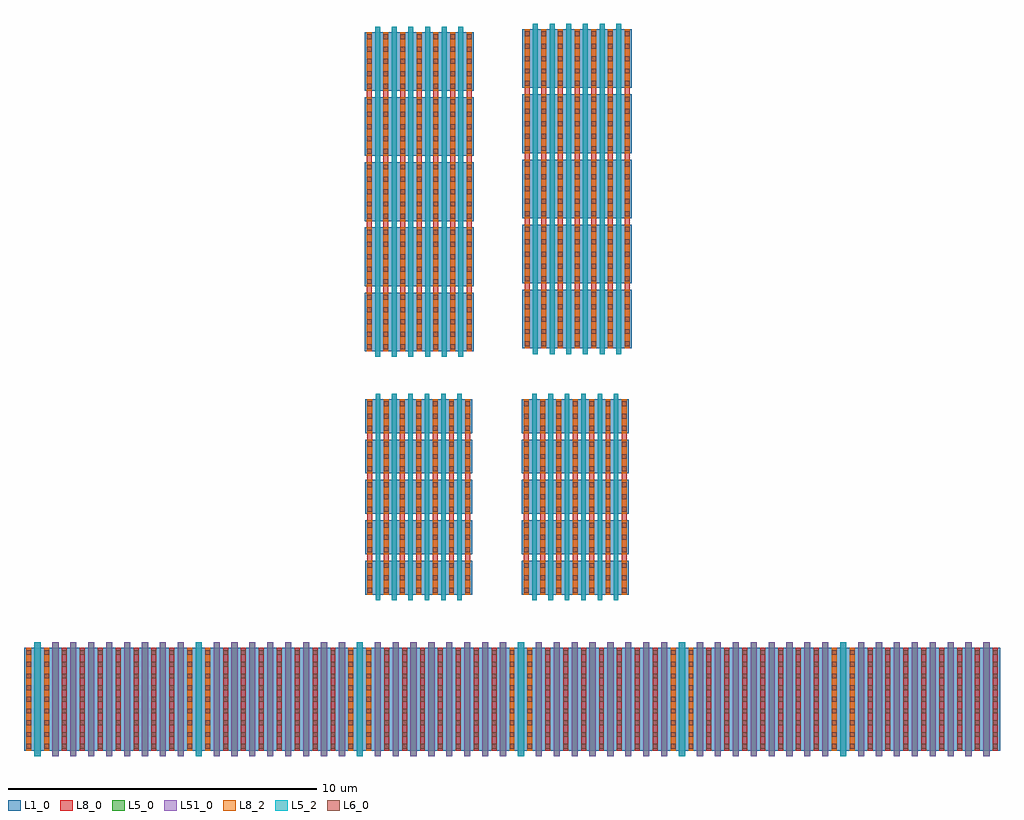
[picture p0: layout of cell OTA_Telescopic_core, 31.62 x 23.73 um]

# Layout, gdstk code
import gdstk
lib = gdstk.Library(unit=1e-6, precision=1e-09)
def R(c, l, rs):  # rectangles x0, y0, x1, y1
    for r in rs: c.add(gdstk.rectangle(r[:2], r[2:], *l))
def A(c, l, x, y, w, h, nx, ny, dx, dy):  # array of equal rectangles
    R(c, l, [(x+i*dx, y+j*dy, x+i*dx+w, y+j*dy+h) for i in range(nx) for j in range(ny)])
L1_0 = (1, 0)
L5_0 = (5, 0)
L5_2 = (5, 2)
L6_0 = (6, 0)
L8_0 = (8, 0)
L8_2 = (8, 2)
L51_0 = (51, 0)

nmos_5 = lib.new_cell('nmos$5')
A(nmos_5, L1_0, 0, 0, 0.3, 0.3, 10, 1, 0.58, 0)
R(nmos_5, L1_0, [(0,0,5.52,3.33)])
A(nmos_5, L5_0, 0.34, -0.18, 0.2, 3.69, 9, 1, 0.58, 0)
R(nmos_5, L5_2, [(0.34,-0.18,0.54,3.51)])
A(nmos_5, L6_0, 0.07, 0.07, 0.16, 0.16, 10, 2, 0.58, 0.375)
A(nmos_5, L6_0, 0.07, 0.825, 0.16, 0.16, 10, 3, 0.58, 0.38)
A(nmos_5, L6_0, 0.07, 1.96, 0.16, 0.16, 10, 4, 0.58, 0.38)
A(nmos_5, L8_0, 0.07, 0, 0.16, 3.33, 10, 1, 0.58, 0)
R(nmos_5, L8_2, [(0.07,0,0.23,3.33), (0.65,0,0.81,3.33)])
A(nmos_5, L51_0, 0.34, -0.18, 0.2, 3.69, 9, 1, 0.58, 0)
nmos_5.add(gdstk.Label('nmos', (0.44,1.665), layer=63, texttype=0))
nmos_5.add(gdstk.Label('nmos', (0.44,1.665), layer=51, texttype=0))
nmos_5.add(gdstk.Label('nmos', (1.02,1.665), layer=51, texttype=0))
nmos_5.add(gdstk.Label('nmos', (1.6,1.665), layer=51, texttype=0))
nmos_5.add(gdstk.Label('nmos', (2.18,1.665), layer=51, texttype=0))
nmos_5.add(gdstk.Label('nmos', (2.76,1.665), layer=51, texttype=0))
nmos_5.add(gdstk.Label('nmos', (3.34,1.665), layer=51, texttype=0))
nmos_5.add(gdstk.Label('nmos', (3.92,1.665), layer=51, texttype=0))
nmos_5.add(gdstk.Label('nmos', (4.5,1.665), layer=51, texttype=0))
nmos_5.add(gdstk.Label('nmos', (5.08,1.665), layer=51, texttype=0))

c_m0 = lib.new_cell('M0')
r = gdstk.Reference(nmos_5, (-0.44,-0.155)); r.repetition = gdstk.Repetition(6, 1, v1=(5.22,0), v2=(0,0)); c_m0.add(r)

nmos_1 = lib.new_cell('nmos$1')
R(nmos_1, L1_0, [(0,0,0.3,0.3), (0,0,0.83,1.1), (0.53,0,0.83,0.3)])
R(nmos_1, L5_0, [(0.34,-0.18,0.49,1.28)])
R(nmos_1, L5_2, [(0.34,-0.18,0.49,1.28)])
A(nmos_1, L6_0, 0.07, 0.07, 0.16, 0.16, 1, 3, 0, 0.4)
A(nmos_1, L6_0, 0.6, 0.07, 0.16, 0.16, 1, 3, 0, 0.4)
R(nmos_1, L8_0, [(0.07,0,0.23,1.1), (0.6,0,0.76,1.1)])
R(nmos_1, L8_2, [(0.07,0,0.23,1.1), (0.6,0,0.76,1.1)])
R(nmos_1, L51_0, [(0.34,-0.18,0.49,1.28)])
nmos_1.add(gdstk.Label('nmos', (0.415,0.55), layer=63, texttype=0))
nmos_1.add(gdstk.Label('nmos', (0.415,0.55), layer=51, texttype=0))

m1_conm1m2 = lib.new_cell('M1_conM1M2')
R(m1_conm1m2, L8_0, [(0,0,0.16,0.21)])

m1m2 = lib.new_cell('M1M2')
r = gdstk.Reference(nmos_1, (-0.425,-0.13)); r.repetition = gdstk.Repetition(6, 5, v1=(0.53,0), v2=(0,1.31)); m1m2.add(r)
r = gdstk.Reference(m1_conm1m2, (-0.355,0.97)); r.repetition = gdstk.Repetition(7, 4, v1=(0.53,0), v2=(0,1.31)); m1m2.add(r)

nmos_2 = lib.new_cell('nmos$2')
R(nmos_2, L1_0, [(0,0,0.3,0.3), (0,0,0.84,1.9), (0.54,0,0.84,0.3)])
R(nmos_2, L5_0, [(0.34,-0.18,0.5,2.08)])
R(nmos_2, L5_2, [(0.34,-0.18,0.5,2.08)])
A(nmos_2, L6_0, 0.07, 0.07, 0.16, 0.16, 1, 5, 0, 0.4)
A(nmos_2, L6_0, 0.61, 0.07, 0.16, 0.16, 1, 5, 0, 0.4)
R(nmos_2, L8_0, [(0.07,0,0.23,1.9), (0.61,0,0.77,1.9)])
R(nmos_2, L8_2, [(0.07,0,0.23,1.9), (0.61,0,0.77,1.9)])
R(nmos_2, L51_0, [(0.34,-0.18,0.5,2.08)])
nmos_2.add(gdstk.Label('nmos', (0.42,0.95), layer=63, texttype=0))
nmos_2.add(gdstk.Label('nmos', (0.42,0.95), layer=51, texttype=0))

m1_conm3m4 = lib.new_cell('M1_conM3M4')
R(m1_conm3m4, L8_0, [(0,0,0.16,0.21)])

m3m4 = lib.new_cell('M3M4')
r = gdstk.Reference(nmos_2, (-0.395,-0.12)); r.repetition = gdstk.Repetition(6, 5, v1=(0.54,0), v2=(0,2.11)); m3m4.add(r)
r = gdstk.Reference(m1_conm3m4, (-0.325,1.78)); r.repetition = gdstk.Repetition(7, 4, v1=(0.54,0), v2=(0,2.11)); m3m4.add(r)

ota_telescopic_core = lib.new_cell('OTA_Telescopic_core')
ota_telescopic_core.add(gdstk.Reference(c_m0, (3.495,0.72)))
ota_telescopic_core.add(gdstk.Reference(m1m2, (14.53,5.745)))
ota_telescopic_core.add(gdstk.Reference(m1m2, (19.6,5.745)))
ota_telescopic_core.add(gdstk.Reference(m3m4, (14.485,13.625)))
ota_telescopic_core.add(gdstk.Reference(m3m4, (19.6,13.715)))

lib.write_gds('OTA_Telescopic_core.gds')
